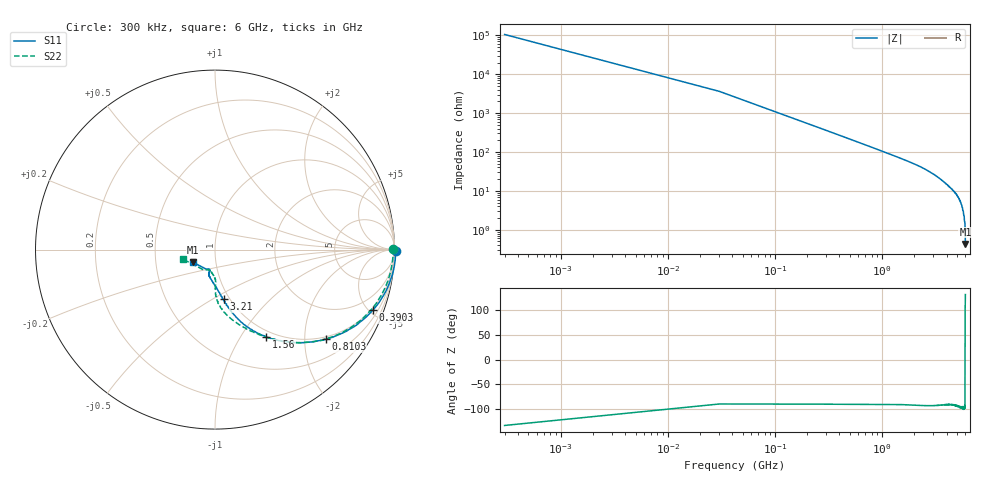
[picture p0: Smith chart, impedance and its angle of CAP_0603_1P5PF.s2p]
# Hz S RI R 50
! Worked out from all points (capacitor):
!   201 points, 300 kHz to 6 GHz, reference 50 ohm
!   read as one part in series: C = 1.46 pF near 30.3 MHz
!   lowest |Z| = 432 mohm at 6 GHz (marker M1)
!   series resonance near 5.958 GHz, so ESL is about 490 pH
!   S11 on the Smith chart (normalised r, x): 300 kHz: open; 390.3 MHz: 0.88, -5.28; 810.3 MHz: 0.94, -2.52; 1.56 GHz: 0.91, -1.30; 3.21 GHz: 0.94, -0.56; 6 GHz: 0.78, -0.11
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300000  1.008 -0.0056  -0.000652 0.000686  -0.000569 -0.000645  0.9897 0.00468
3.02985e7  1.006 -0.0299  0.000803 0.0275  0.00097 0.0277  0.9921 -0.03
6.0297e7  1.004 -0.0586  0.00321 0.055  0.00309 0.0549  0.9893 -0.0598
9.02955e7  0.9998 -0.0873  0.00695 0.0821  0.00716 0.0821  0.9849 -0.0883
1.20294e8  0.9943 -0.116  0.0124 0.1087  0.0124 0.1088  0.9795 -0.1176
1.80291e8  0.9771 -0.1714  0.0277 0.1605  0.0277 0.1606  0.9631 -0.1744
2.702865e8  0.9429 -0.2486  0.0602 0.2326  0.0603 0.2328  0.9275 -0.2523
3.902805e8  0.8806 -0.3363  0.1182 0.3146  0.118 0.3148  0.8652 -0.3402
5.702715e8  0.7686 -0.4334  0.2236 0.4048  0.2236 0.405  0.7526 -0.4375
8.102595e8  0.6168 -0.4991  0.3653 0.4671  0.3666 0.4669  0.6011 -0.5023
1.020249e9  0.4989 -0.5179  0.4804 0.4832  0.4809 0.4819  0.4854 -0.5185
1.560222e9  0.2833 -0.4854  0.6941 0.4391  0.6934 0.438  0.2711 -0.4841
2.0102e9  0.1836 -0.4327  0.8131 0.3754  0.8116 0.3755  0.1619 -0.4342
2.430178e9  0.1226 -0.3802  0.8843 0.3005  0.8832 0.3023  0.0869 -0.383
3.00015e9  0.0641 -0.3036  0.935 0.2123  0.9336 0.2159  0.0218 -0.3047
3.21014e9  0.0482 -0.2767  0.946 0.1802  0.9437 0.1831  0.0108 -0.2766
4.020099e9  -0.00394 -0.1935  0.9583 0.0908  0.9642 0.0901  0.00322 -0.1947
5.01005e9  -0.033 -0.14  0.9746 0.00641  0.9763 0.00795  -0.00746 -0.1454
5.700015e9  -0.0301 -0.1137  0.972 -0.0493  0.979 -0.0576  -0.027 -0.1164
5.940003e9  -0.0374 -0.1089  0.9585 -0.0773  0.9653 -0.0847  -0.0467 -0.1125
5.970002e9  -0.0484 -0.1089  -0.9357 0.0843  -0.9443 0.0975  -0.0642 -0.1129
6e9  -0.1217 -0.0713  -0.8429 0.0497  -0.8451 0.0618  -0.1778 -0.0534
